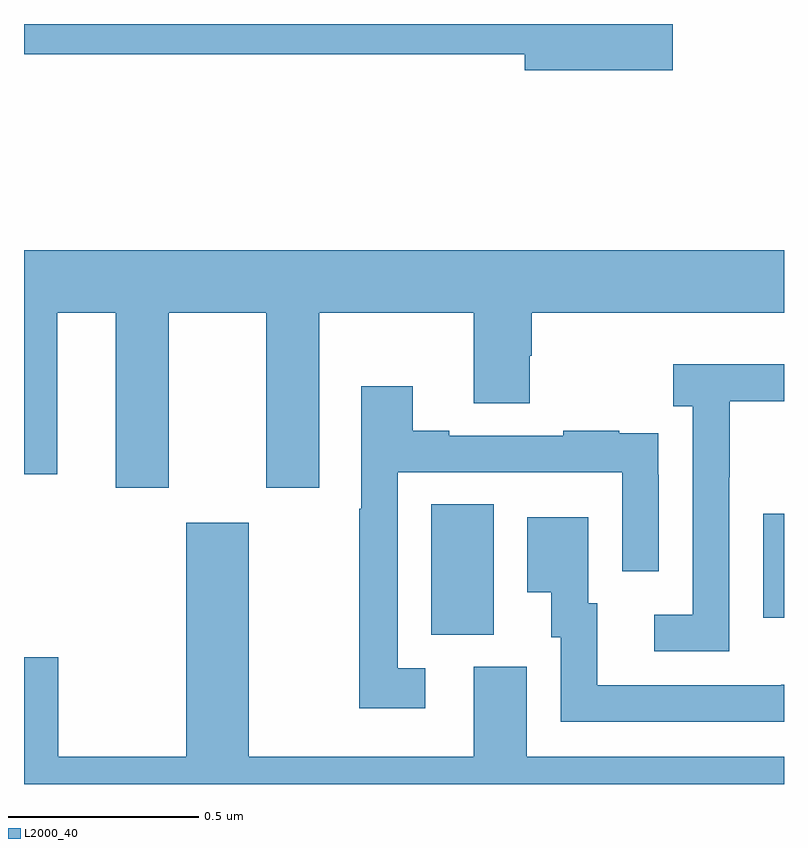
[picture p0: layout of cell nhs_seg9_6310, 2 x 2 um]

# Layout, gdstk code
import gdstk
lib = gdstk.Library(unit=1e-6, precision=1e-09)
def R(c, l, rs):  # rectangles x0, y0, x1, y1
    for r in rs: c.add(gdstk.rectangle(r[:2], r[2:], *l))
def P(c, l, *ps):  # polygons
    for p in ps: c.add(gdstk.Polygon(p, *l))
L2000_40 = (2000, 40)

nhs_seg9_6310 = lib.new_cell('nhs_seg9_6310')
R(nhs_seg9_6310, L2000_40, [(191.072,1208.893,191.236,1209.236), (191.945,1208.937,192,1209.211)])
P(nhs_seg9_6310, L2000_40, [(191.707,1210.5),(190,1210.5),(190,1210.42),(191.318,1210.42),(191.318,1210.378),(191.707,1210.378)],
  [(190.381,1209.74),(190.637,1209.74),(190.637,1209.279),(190.777,1209.279),(190.777,1209.74),(191.183,1209.74),(191.183,1209.502),(191.331,1209.502),(191.331,1209.627),(191.336,1209.627),(191.336,1209.74),(192,1209.74),(192,1209.904),(190,1209.904),(190,1209.315),(190.087,1209.315),(190.087,1209.74),(190.241,1209.74),(190.241,1209.279),(190.381,1209.279)],
  [(191.856,1209.307),(191.857,1209.307),(191.857,1209.507),(192,1209.507),(192,1209.604),(191.709,1209.604),(191.709,1209.494),(191.76,1209.494),(191.76,1208.946),(191.658,1208.946),(191.658,1208.85),(191.856,1208.85)],
  [(191.056,1208.805),(190.983,1208.805),(190.983,1209.321),(191.574,1209.321),(191.574,1209.06),(191.67,1209.06),(191.67,1209.314),(191.669,1209.314),(191.669,1209.423),(191.567,1209.423),(191.567,1209.43),(191.419,1209.43),(191.419,1209.417),(191.119,1209.417),(191.119,1209.43),(191.023,1209.43),(191.023,1209.547),(190.887,1209.547),(190.887,1209.224),(190.882,1209.224),(190.882,1208.7),(191.056,1208.7)],
  [(192,1208.761),(191.993,1208.761),(191.993,1208.76),(191.509,1208.76),(191.509,1208.976),(191.485,1208.976),(191.485,1209.202),(191.324,1209.202),(191.324,1209.005),(191.387,1209.005),(191.387,1208.886),(191.412,1208.886),(191.412,1208.664),(192,1208.664)],
  [(192,1208.572),(191.323,1208.572),(191.323,1208.808),(191.183,1208.808),(191.183,1208.572),(190.591,1208.572),(190.591,1209.187),(190.427,1209.187),(190.427,1208.572),(190.09,1208.572),(190.09,1208.833),(190,1208.833),(190,1208.5),(192,1208.5)])

lib.write_gds('nhs_seg9_6310.gds')
